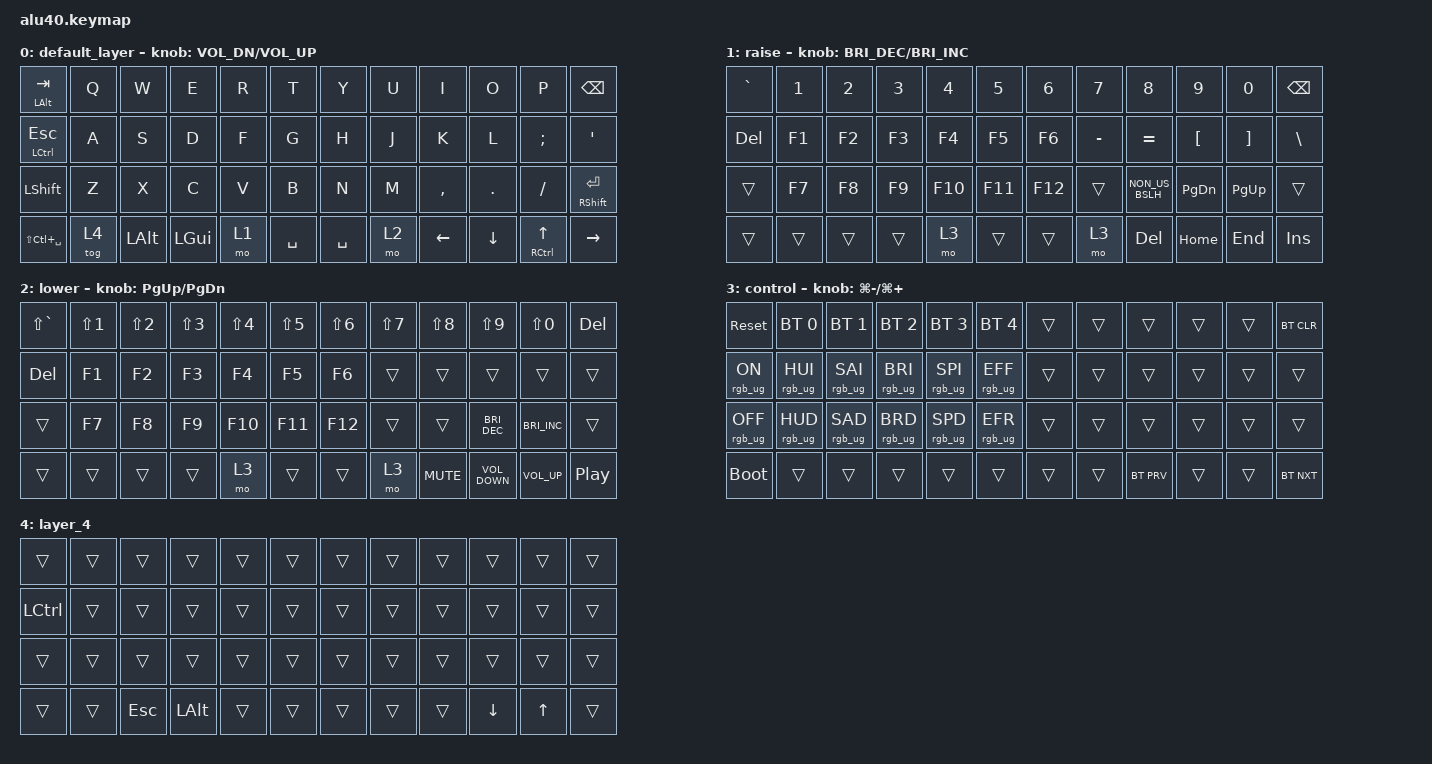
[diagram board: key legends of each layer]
/*
 * Copyright (c) 2022 The ZMK Contributors
 *
 * SPDX-License-Identifier: MIT
 */

#include <behaviors.dtsi>
#include <dt-bindings/zmk/bt.h>
#include <dt-bindings/zmk/keys.h>
#include <dt-bindings/zmk/rgb.h>

/ {
    behaviors {
        hm: homerow_mods {
            compatible = "zmk,behavior-hold-tap";
            label = "HOMEROW_MODS";
            #binding-cells = <2>;
            tapping-term-ms = <150>;
            quick-tap-ms = <0>;
            flavor = "tap-preferred";
            bindings = <&kp>, <&kp>;
        };
    };

    keymap {
        compatible = "zmk,keymap";

        default_layer {
            // -----------------------------------------------------------------------------------------
            // | ESC/~ |  Q   |  W   |  E   |  R   |  T   |   Y   |  U    |  I   |  O   |   P   | BSPC  |
            // | TAB   |  A   |  S   |  D   |  F   |  G   |   H   |  J    |  K   |  L   |   ;   |  '    |
            // | SHIFT |  Z   |  X   |  C   |  V   |  B   |   N   |  M    |  ,   |  .   |   /   |RET/SFT|
            // | PLAY  | LCTL | LGUI | LALT | LOWR |     SPACE    |  RAIS | LARW | UARW | DARW  |  RARW |

            bindings = <
&mt LEFT_ALT TAB   &kp Q   &kp W         &kp E         &kp R  &kp T      &kp Y      &kp U  &kp I      &kp O     &kp P               &kp BSPC
&mt LCTRL ESCAPE   &kp A   &kp S         &kp D         &kp F  &kp G      &kp H      &kp J  &kp K      &kp L     &kp SEMI            &kp SINGLE_QUOTE
&kp LSHFT          &kp Z   &kp X         &kp C         &kp V  &kp B      &kp N      &kp M  &kp COMMA  &kp DOT   &kp FSLH            &mt RSHFT RET
&kp LS(LC(SPACE))  &tog 4  &kp LEFT_ALT  &kp LEFT_GUI  &mo 1  &kp SPACE  &kp SPACE  &mo 2  &kp LEFT   &kp DOWN  &hm RCTRL UP_ARROW  &kp RIGHT
            >;

            sensor-bindings = <&inc_dec_kp C_VOL_DN C_VOL_UP>;
        };

        raise {
            bindings = <
&kp GRAVE  &kp N1  &kp N2  &kp N3  &kp N4   &kp N5   &kp N6   &kp N7     &kp N8           &kp N9         &kp N0     &kp BSPC
&kp DEL    &kp F1  &kp F2  &kp F3  &kp F4   &kp F5   &kp F6   &kp MINUS  &kp EQUAL        &kp LBKT       &kp RBKT   &kp BSLH
&trans     &kp F7  &kp F8  &kp F9  &kp F10  &kp F11  &kp F12  &trans     &kp NON_US_BSLH  &kp PAGE_DOWN  &kp PG_UP  &trans
&trans     &trans  &trans  &trans  &mo 3    &trans   &trans   &mo 3      &kp DELETE       &kp HOME       &kp END    &kp INSERT
            >;

            sensor-bindings = <&inc_dec_kp C_BRI_DEC C_BRI_INC>;
        };

        lower {
            bindings = <
&kp LS(GRAVE)  &kp LS(N1)  &kp LS(N2)  &kp LS(N3)  &kp LS(N4)  &kp LS(N5)  &kp LS(N6)  &kp LS(N7)  &kp LS(N8)  &kp LS(N9)            &kp LS(N0)            &kp DEL
&kp DEL        &kp F1      &kp F2      &kp F3      &kp F4      &kp F5      &kp F6      &trans      &trans      &trans                &trans                &trans
&trans         &kp F7      &kp F8      &kp F9      &kp F10     &kp F11     &kp F12     &trans      &trans      &kp C_BRIGHTNESS_DEC  &kp C_BRIGHTNESS_INC  &trans
&trans         &trans      &trans      &trans      &mo 3       &trans      &trans      &mo 3       &kp K_MUTE  &kp C_VOLUME_DOWN     &kp C_VOLUME_UP       &kp C_PLAY_PAUSE
            >;

            sensor-bindings = <&inc_dec_kp PG_UP PG_DN>;
        };

        control {
            bindings = <
&sys_reset       &bt BT_SEL 0     &bt BT_SEL 1     &bt BT_SEL 2     &bt BT_SEL 3     &bt BT_SEL 4     &trans  &trans  &trans      &trans  &trans  &bt BT_CLR
&rgb_ug RGB_ON   &rgb_ug RGB_HUI  &rgb_ug RGB_SAI  &rgb_ug RGB_BRI  &rgb_ug RGB_SPI  &rgb_ug RGB_EFF  &trans  &trans  &trans      &trans  &trans  &trans
&rgb_ug RGB_OFF  &rgb_ug RGB_HUD  &rgb_ug RGB_SAD  &rgb_ug RGB_BRD  &rgb_ug RGB_SPD  &rgb_ug RGB_EFR  &trans  &trans  &trans      &trans  &trans  &trans
&bootloader      &trans           &trans           &trans           &trans           &trans           &trans  &trans  &bt BT_PRV  &trans  &trans  &bt BT_NXT
            >;

            sensor-bindings = <&inc_dec_kp LG(MINUS) LG(PLUS)>;
        };

        layer_4 {
            bindings = <
&trans     &trans  &trans      &trans        &trans  &trans  &trans  &trans  &trans  &trans    &trans        &trans
&kp LCTRL  &trans  &trans      &trans        &trans  &trans  &trans  &trans  &trans  &trans    &trans        &trans
&trans     &trans  &trans      &trans        &trans  &trans  &trans  &trans  &trans  &trans    &trans        &trans
&trans     &trans  &kp ESCAPE  &kp LEFT_ALT  &trans  &trans  &trans  &trans  &trans  &kp DOWN  &kp UP_ARROW  &trans
            >;
        };
    };
};
